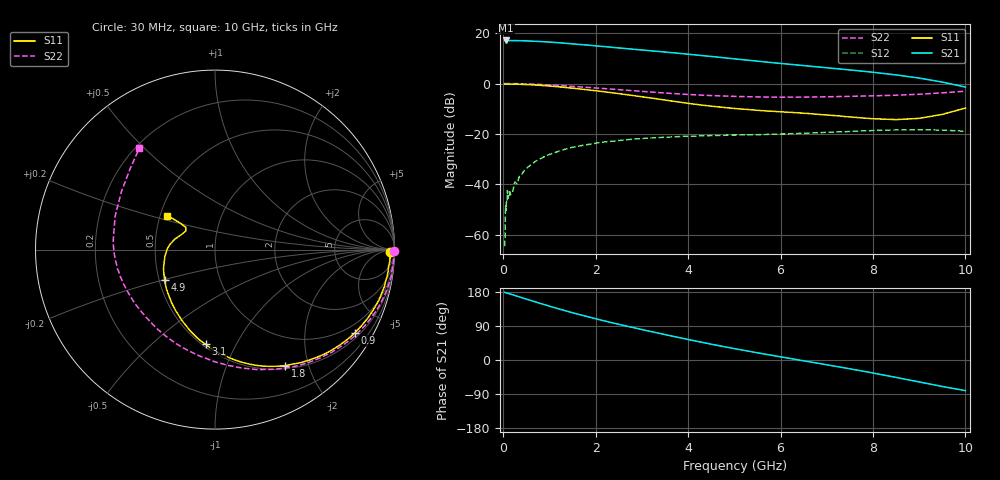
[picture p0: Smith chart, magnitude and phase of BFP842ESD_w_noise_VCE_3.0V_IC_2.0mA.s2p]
! Infineon Technologies  Discrete & RF Semiconductors
! BFP842ESD
! VCE =  3.0 V,  IC =  2.0 mA
! Common Emitter S-Parameters:  May 2012
# GHz  S  MA  R  50
!  f  S11  S21  S12  S22
! GHz  MAG  ANG  MAG  ANG  MAG  ANG  MAG  ANG
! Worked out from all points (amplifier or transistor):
!   99 points, 30 MHz to 10 GHz, reference 50 ohm
!   highest |S21| = 17.1 dB at 60 MHz (marker M1)
!   |S21| within 3 dB of that: start of sweep to 2.523 GHz
!   unconditionally stable (mu >= 1): 4.553 GHz to end of sweep
!   at 350 MHz: K = 0.07, MSG = 26.8 dB, |S12| = -36.7 dB
!   at 3.5 GHz: K = 0.77, MSG = 16.9 dB, |S12| = -21.3 dB
!   at 10 GHz: K = 2.25, MAG = 2.5 dB, |S12| = -18.9 dB
!   lowest NFmin = 0.35 dB at 450 MHz
!   S11 on the Smith chart (normalised r, x): 30 MHz: 59, -40; 900 MHz: 0.67, -3.51; 1.8 GHz: 0.54, -1.64; 3.1 GHz: 0.52, -0.76; 4.9 GHz: 0.54, -0.20; 10 GHz: 0.55, +0.23
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0.03  0.977 -0.9  7.082 178.7  0.0006 27.8  0.9991 -0.6
0.04  0.9774 -1.3  7.044 178.2  0.0009 122.5  0.998 -0.7
0.05  0.9761 -1.7  7.009 177.5  0.0038 44.9  0.9959 -1.4
0.06  0.9706 -2.2  7.127 177.2  0.0031 -33.3  1 -1.7
0.09  0.9762 -3.0  6.991 176.5  0.0076 99.1  0.9992 -2.4
0.1  0.9753 -3.5  7.062 176.1  0.0053 67.4  0.9985 -2.6
0.5  0.9549 -17.4  7.002 160.7  0.0206 74.1  0.9825 -13.6
0.9  0.9065 -30.8  6.702 145.8  0.0361 66.0  0.9472 -24.2
1.3  0.8431 -43.7  6.324 131.6  0.0487 56.0  0.9021 -34.3
1.7  0.7707 -55.9  5.893 118.3  0.0591 47.3  0.8516 -43.7
1.8  0.7549 -58.9  5.799 115.2  0.0613 45.7  0.8403 -45.9
2.3  0.6653 -73.4  5.269 99.9  0.0709 36.0  0.7805 -57.0
3.1  0.5301 -95.7  4.537 77.6  0.0827 23.8  0.6888 -74.4
3.4  0.4853 -104.5  4.282 69.8  0.0852 19.9  0.6579 -81.2
4.1  0.3937 -125.6  3.731 51.6  0.0908 11.4  0.601 -97.5
4.9  0.327 -149.2  3.15 32.4  0.0951 3.1  0.5599 -116.0
5.1  0.3145 -154.8  3.019 27.8  0.0953 1.2  0.553 -120.6
5.9  0.279 -173.4  2.552 10.5  0.0987 -5.2  0.5362 -137.6
6.7  0.25 172.6  2.178 -6.3  0.1048 -11.6  0.5413 -155.5
7.6  0.2141 159.8  1.821 -25.5  0.1135 -20.7  0.5601 -176.2
8.5  0.1928 147.0  1.481 -45.9  0.1202 -33.2  0.5869 161.5
10  0.3262 144.4  0.851 -80.8  0.1132 -60.2  0.704 126.8
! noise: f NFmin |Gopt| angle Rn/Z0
0.45  0.35  0.77  2  0.27
0.9  0.37  0.74  10  0.25
1.5  0.41  0.67  29  0.22
1.9  0.43  0.65  37  0.2
2.4  0.49  0.63  49  0.18
3.5  0.65  0.5  82  0.13
4  0.73  0.45  102  0.11
5  0.87  0.42  123  0.07
5.5  1.01  0.41  138  0.07
6  1.25  0.38  155  0.07
